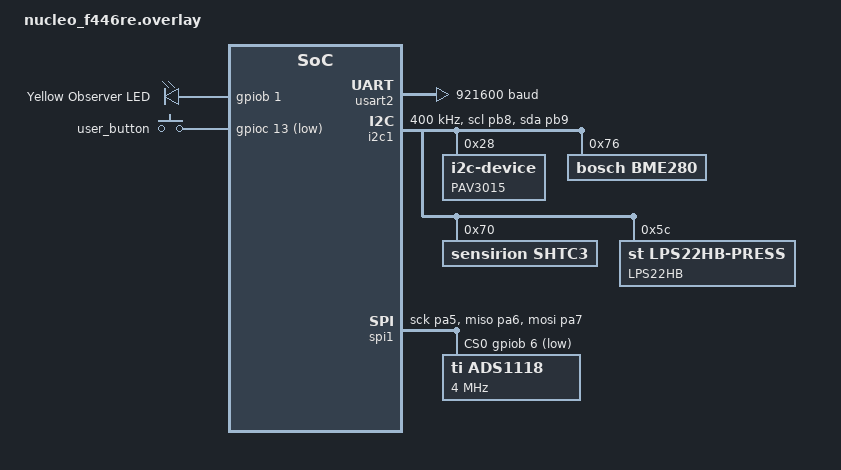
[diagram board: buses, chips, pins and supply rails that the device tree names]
// =============================================================================
// Device Tree Overlay — NUCLEO-F446RE (Fixed & Unified)
// Resolves GPIO LED vs SPI1 pin layout contentions and corrects node references.
// Rebuild via: west build -b nucleo_f446re -- -DEXTRA_DTC_FLAGS="-Wno-unit_address_vs_reg"
// =============================================================================

/ {
    // Re-define LEDs (Keeping onboard LED PA5 and adding external yellow LED PB1)
    //leds {
      //  compatible = "gpio-leds";
        //green_led: led_0 {
          //  gpios = <&gpioa 5 GPIO_ACTIVE_HIGH>; // Onboard LD2 green LED (PA5)
            //label = "Green Status LED";
        //};
        //yellow_led: led_1 {
         //   gpios = <&gpiob 1 GPIO_ACTIVE_HIGH>; // External yellow LED (PB1)
         //   label = "Yellow Observer LED";
        //};
    //};
leds {
    compatible = "gpio-leds";
    yellow_led: led_1 {
        gpios = <&gpiob 1 GPIO_ACTIVE_HIGH>;
        label = "Yellow Observer LED";
    };
};
    aliases {
        sw0 = &user_button;   // Fixed reference to standard Nucleo blue button
        //led0 = &green_led;
        led1 = &yellow_led;
        i2c-sens = &i2c1;          // Fixed identifier to match C++ sensor.hpp macro
        spi-adc = &spi1;
        log-uart = &usart2;
        uart-vcp = &usart2;
    };
};

// Override properties on the blue user button node natively declared by the board
&user_button {
    gpios = <&gpioc 13 (GPIO_ACTIVE_LOW | GPIO_PULL_UP)>;
    status = "okay";
};

// ── USART2 — ST-Link VCP DMA Configuration ──────────────────────────────────
&usart2 {
    status = "okay";
    current-speed = <921600>;
    
    // Configured for STM32F446xx DMA1 Map
    dmas = <&dma1 6 4 0x10440 0x03>,   // Channel 4, Stream 6 (TX)
           <&dma1 5 4 0x10480 0x03>;   // Channel 4, Stream 5 (RX)
    dma-names = "tx", "rx";
};

// ── DMA1 — Subsystem Activation ─────────────────────────────────────────────
&dma1 {
    status = "okay";
};

// ── I2C1 — Shared Sensor Bus (400 kHz) ──────────────────────────────────────
&i2c1 {
    status = "okay";
    clock-frequency = <I2C_BITRATE_FAST>; // 400 kHz
    pinctrl-0 = <&i2c1_scl_pb8 &i2c1_sda_pb9>;
    pinctrl-names = "default";

    pav3015: pav3015@28 {
        compatible = "i2c-device";
        reg = <0x28>;
        label = "PAV3015";
    };

    bme280: bme280@76 {
        compatible = "bosch,bme280";
        reg = <0x76>;
        label = "BME280";
    };

    shtc3: shtc3@70 {
        compatible = "sensirion,shtc3";
        reg = <0x70>;
        label = "SHTC3";
    };

    lps22hb: lps22hb@5c {
        compatible = "st,lps22hb-press";
        reg = <0x5C>;
        label = "LPS22HB";
    };
};

// ── SPI1 — ADS1118 Isolation ────────────────────────────────────────────────
&spi1 {
    status = "okay";
    pinctrl-0 = <&spi1_sck_pa5 &spi1_miso_pa6 &spi1_mosi_pa7>;
    pinctrl-names = "default";
    cs-gpios = <&gpiob 6 GPIO_ACTIVE_LOW>; // Chip Select Pin: PB6 (Arduino D10)

    ads1118: ads1118@0 {
        compatible = "ti,ads1118";
        reg = <0>;
        spi-max-frequency = <4000000>; // 4 MHz clock speed
        label = "ADS1118";
    };
};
